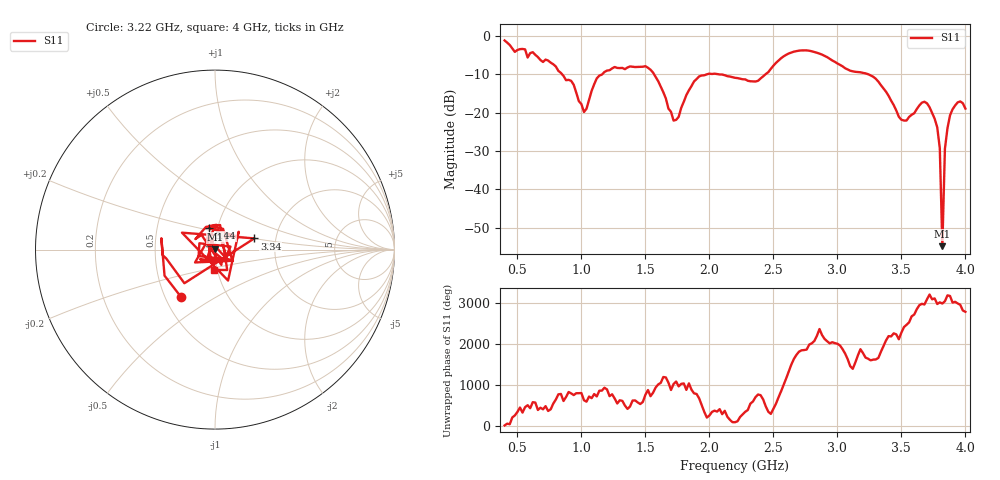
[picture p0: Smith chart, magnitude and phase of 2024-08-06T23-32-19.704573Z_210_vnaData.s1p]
!Created with skrf (http://scikit-rf.org).
# Hz S RI R 50.0
!freq ReS11 ImS11
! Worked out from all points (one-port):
!   181 points, 400 MHz to 4 GHz, reference 50 ohm
!   lowest |S11| = -54.8 dB at 3.82 GHz (marker M1), VSWR 1.00, Z = 49.9 + j0.171 ohm
!   |S11| at or under -10 dB: 1.567 GHz to 1.982 GHz (415.1 MHz wide, 23.4 % of centre); 2.07 GHz to 2.439 GHz (368.2 MHz wide, 16.3 % of centre); 3.24 GHz to end of sweep (the widest 3 of 4)
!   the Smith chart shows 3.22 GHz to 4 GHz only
!   S11 on the Smith chart (normalised r, x): 3.22 GHz: 0.60, -0.36; 3.34 GHz: 1.55, +0.20; 3.44 GHz: 0.91, +0.22; 4 GHz: 0.97, -0.22
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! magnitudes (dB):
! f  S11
! 400 MHz  -1.2
! 860 MHz  -10.4
! 940 MHz  -12.7
! 1.02 GHz  -19.8
! 1.12 GHz  -11.1
! 1.3 GHz  -8.4
! 1.54 GHz  -8.8
! 1.72 GHz  -22.1
! 1.76 GHz  -21.1
! 1.92 GHz  -10.6
! 2.2 GHz  -10.9
! 2.38 GHz  -11.7
! 2.66 GHz  -4.1
! 2.86 GHz  -4.6
! 3.1 GHz  -9.1
! 3.22 GHz  -9.8
! 3.34 GHz  -12.8
! 3.44 GHz  -18.0
! 3.5 GHz  -21.8
! 3.56 GHz  -21.1
! 3.68 GHz  -17.2
! 3.78 GHz  -23.8
! 3.8 GHz  -29.2
! 3.82 GHz  -54.8
! 3.84 GHz  -29.4
! 3.86 GHz  -24.1
! 3.94 GHz  -17.3
! 4 GHz  -18.9
